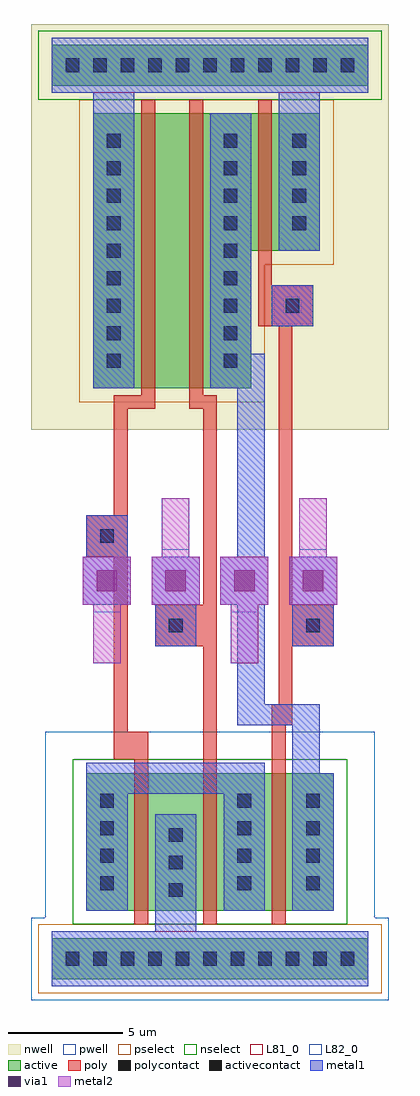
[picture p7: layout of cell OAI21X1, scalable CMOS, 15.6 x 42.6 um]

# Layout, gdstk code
import gdstk
lib = gdstk.Library(unit=1e-6, precision=1e-09)
def R(c, l, rs):  # rectangles x0, y0, x1, y1
    for r in rs: c.add(gdstk.rectangle(r[:2], r[2:], *l))
def A(c, l, x, y, w, h, nx, ny, dx, dy):  # array of equal rectangles
    R(c, l, [(x+i*dx, y+j*dy, x+i*dx+w, y+j*dy+h) for i in range(nx) for j in range(ny)])
pwell = (41, 0)
nwell = (42, 0)
active = (43, 0)
pselect = (44, 0)
nselect = (45, 0)
poly = (46, 0)
polycontact = (47, 0)
activecontact = (48, 0)
metal1 = (49, 0)
via1 = (50, 0)
metal2 = (51, 0)
L81_0 = (81, 0)
L82_0 = (82, 0)

oai21x1 = lib.new_cell('OAI21X1')
R(oai21x1, pwell, [(-1.8,-1.8,13.8,1.8), (-1.2,1.8,13.2,9.9)])
R(oai21x1, nwell, [(-1.8,23.1,13.8,40.8)])
R(oai21x1, active, [(-0.9,-0.9,12.9,0.9), (0.6,2.1,11.4,8.1), (0.9,24.9,7.8,30.9), (0.9,30.9,10.8,36.9), (-0.9,38.1,12.9,39.9)])
R(oai21x1, pselect, [(-1.5,-1.5,13.5,1.5), (0.3,24.3,8.4,30.3), (0.3,30.3,11.4,37.5)])
R(oai21x1, nselect, [(0,1.5,12,8.7), (-1.5,37.5,13.5,40.5)])
R(oai21x1, poly, [(2.7,1.5,3.3,8.7), (5.7,1.5,6.3,13.65), (8.7,1.5,9.3,10.2), (1.8,8.7,3.3,9.9), (1.8,9.9,2.4,17.55), (8.7,10.2,9.6,11.1), (9,11.1,9.6,13.65), (3.6,13.65,6.3,15.45), (9,13.65,11.4,15.45), (5.7,15.45,6.3,24), (9,15.45,9.6,27.6), (0.6,17.55,2.4,19.35), (1.8,19.35,2.4,24), (1.8,24,3.6,24.6), (5.1,24,6.3,24.6), (3,24.6,3.6,37.5), (5.1,24.6,5.7,37.5), (8.1,27.6,10.5,29.4), (8.1,29.4,8.7,37.5)])
R(oai21x1, polycontact, [(4.2,14.25,4.8,14.85), (10.2,14.25,10.8,14.85), (1.2,18.15,1.8,18.75), (9.3,28.2,9.9,28.8)])
A(oai21x1, activecontact, -0.3, -0.3, 0.6, 0.6, 11, 2, 1.2, 39)
A(oai21x1, activecontact, 4.2, 2.7, 0.6, 0.6, 1, 3, 0, 1.2)
A(oai21x1, activecontact, 1.2, 3, 0.6, 0.6, 1, 4, 0, 1.2)
A(oai21x1, activecontact, 7.2, 3, 0.6, 0.6, 1, 4, 0, 1.2)
A(oai21x1, activecontact, 10.2, 3, 0.6, 0.6, 1, 4, 0, 1.2)
A(oai21x1, activecontact, 1.5, 25.8, 0.6, 0.6, 1, 9, 0, 1.2)
A(oai21x1, activecontact, 6.6, 25.8, 0.6, 0.6, 1, 9, 0, 1.2)
A(oai21x1, activecontact, 9.6, 31.8, 0.6, 0.6, 1, 4, 0, 1.2)
A(oai21x1, metal1, 0.45, 15.45, 2.1, 2.1, 4, 1, 3, 0)
R(oai21x1, metal1, [(-0.9,-1.2,12.9,1.2), (3.6,1.2,5.4,6.3), (0.6,2.1,2.4,7.2), (6.6,2.1,8.4,7.2), (9.6,2.1,11.4,8.1), (0.6,7.2,8.4,8.55), (9.6,8.1,10.8,10.2), (7.2,10.2,10.8,11.1), (7.2,11.1,8.4,15.45), (3.6,13.65,5.4,15.45), (9.6,13.65,11.4,15.45), (0.6,17.55,2.4,19.35), (7.2,17.55,8.4,24.9), (0.9,24.9,2.7,37.8), (6,24.9,8.4,26.4), (6,26.4,7.8,36.9), (8.7,27.6,10.5,29.4), (9,30.9,10.8,37.8), (-0.9,37.8,12.9,40.2)])
A(oai21x1, via1, 1.05, 16.05, 0.9, 0.9, 4, 1, 3, 0)
A(oai21x1, metal2, 0.45, 15.45, 2.1, 2.1, 4, 1, 3, 0)
R(oai21x1, metal2, [(0.9,12.9,2.1,15.45), (6.9,12.9,8.1,15.45), (3.9,17.55,5.1,20.1), (9.9,17.55,11.1,20.1)])
R(oai21x1, L81_0, [(-0.9,-1.2,12.9,1.2), (-0.9,37.8,12.9,40.2)])
R(oai21x1, L82_0, [(0.9,12.9,2.1,15.15), (6.9,12.9,8.1,15.15), (3.9,17.85,5.1,20.1), (9.9,17.85,11.1,20.1)])

lib.write_gds('OAI21X1.gds')
